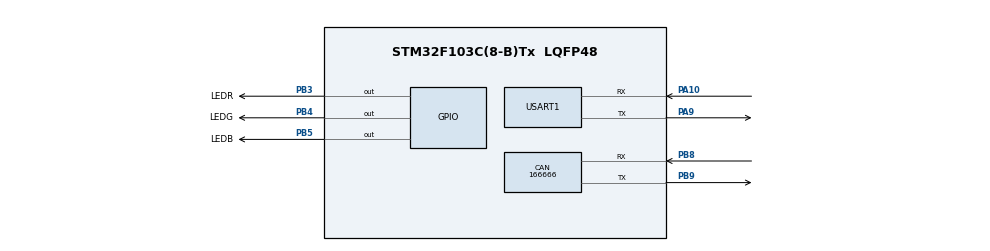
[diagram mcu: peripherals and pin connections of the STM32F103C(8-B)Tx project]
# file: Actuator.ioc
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CAN.CalculateBaudRate=166666
CAN.CalculateTimeBit=6000
CAN.CalculateTimeQuantum=2000.0
Mcu.Family=STM32F1
Mcu.Name=STM32F103C(8-B)Tx
Mcu.Package=LQFP48
NVIC.CAN1_RX1_IRQn=true\:0\:0\:false\:false\:true\:true\:true\:true
NVIC.PriorityGroup=NVIC_PRIORITYGROUP_4
PA10.Mode=Asynchronous
PA10.Signal=USART1_RX
PA9.Mode=Asynchronous
PA9.Signal=USART1_TX
PB3.GPIO_Label=LEDR
PB3.Signal=GPIO_Output
PB4.GPIO_Label=LEDG
PB4.Signal=GPIO_Output
PB5.GPIO_Label=LEDB
PB5.Signal=GPIO_Output
PB8.Mode=CAN_Activate
PB8.Signal=CAN_RX
PB9.Mode=CAN_Activate
PB9.Signal=CAN_TX
PD0-OSC_IN.Mode=HSE-External-Oscillator
PD0-OSC_IN.Signal=RCC_OSC_IN
PD1-OSC_OUT.Mode=HSE-External-Oscillator
PD1-OSC_OUT.Signal=RCC_OSC_OUT
ProjectManager.HeapSize=0x200
ProjectManager.StackSize=0x400
ProjectManager.TargetToolchain=STM32CubeIDE
RCC.APB1Freq_Value=8000000
RCC.APB2Freq_Value=8000000
USART1.VirtualMode=VM_ASYNC
VP_SYS_VS_ND.Mode=No_Debug
board=custom

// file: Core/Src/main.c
/* USER CODE BEGIN Header */
/**
  ******************************************************************************
  * @file           : main.c
  * @brief          : Main program body
  ******************************************************************************
  * @attention
  *
  * Copyright (c) 2024 STMicroelectronics.
  * All rights reserved.
  *
  * This software is licensed under terms that can be found in the LICENSE file
  * in the root directory of this software component.
  * If no LICENSE file comes with this software, it is provided AS-IS.
  *
  ******************************************************************************
  */
/* USER CODE END Header */
#include "main.h"

/* USER CODE BEGIN Includes */
#include "CAN_Diagnostic.h"
/* USER CODE END Includes */

CAN_HandleTypeDef hcan;

UART_HandleTypeDef huart1;

/* USER CODE BEGIN PV */
extern CAN_TxHeaderTypeDef TxMsg;
extern CAN_RxHeaderTypeDef RxMsg;
extern CAN_FilterTypeDef canfilterconfig;

extern CAN_TxHeaderTypeDef TxMsg;
extern CAN_RxHeaderTypeDef RxMsg;
extern CAN_FilterTypeDef canfilterconfig;

extern uint8_t TxData[8];
extern uint8_t RxData[8];
extern uint32_t TxMailbox;
/* USER CODE END PV */

void SystemClock_Config(void);
static void MX_GPIO_Init(void);
static void MX_CAN_Init(void);
static void MX_USART1_UART_Init(void);

/* USER CODE BEGIN 0 */
void HAL_CAN_RxFifo1MsgPendingCallback(CAN_HandleTypeDef *hcan)
{
	HAL_CAN_GetRxMessage(hcan, CAN_RX_FIFO1, &RxMsg, RxData);

	if (RxMsg.StdId == CAN_DIAGNOSTIC_REQUEST_ID)
		{
			if (RxData[1] == READ_DATA_REQUEST_SID)
			{
				CAN_ReadDataRespone(hcan);
			}
			else if (RxData[1] == WRITE_DATA_REQUEST_SID)
			{
				CAN_WriteDataRespone(hcan);
			}
			else if (RxData[1] == CAN_SECURITY_ACCESS_REQUEST_SID)
			{
			    if (RxData[2] == CAN_SECURITY_SEED_LEVEL)
				{
					CAN_SecuritySeedRespone(hcan);
				}
			    else if (RxData[2] == CAN_SECURITY_SEED_LEVEL)
			    {
			    	CAN_SecurityKeyRespone(hcan);
			    }
			}
		}
}

/* USER CODE END 0 */

int main(void)
{

  /* MCU Configuration--------------------------------------------------------*/

  /* Reset of all peripherals, Initializes the Flash interface and the Systick. */
  HAL_Init();

  /* Configure the system clock */
  SystemClock_Config();

  /* Initialize all configured peripherals */
  MX_GPIO_Init();
  MX_CAN_Init();
  MX_USART1_UART_Init();
  /* USER CODE BEGIN 2 */
  HAL_CAN_Start(&hcan);
  HAL_CAN_ActivateNotification(&hcan, CAN_IT_RX_FIFO1_MSG_PENDING);
  CAN_Config(&hcan);
  /* USER CODE END 2 */

  /* Infinite loop */
  while (1)
  {

  }
}

void SystemClock_Config(void)
{
  RCC_OscInitTypeDef RCC_OscInitStruct = {0};
  RCC_ClkInitTypeDef RCC_ClkInitStruct = {0};

  /** Initializes the RCC Oscillators according to the specified parameters
  * in the RCC_OscInitTypeDef structure.
  */
  RCC_OscInitStruct.OscillatorType = RCC_OSCILLATORTYPE_HSI;
  RCC_OscInitStruct.HSIState = RCC_HSI_ON;
  RCC_OscInitStruct.HSICalibrationValue = RCC_HSICALIBRATION_DEFAULT;
  RCC_OscInitStruct.PLL.PLLState = RCC_PLL_NONE;
  if (HAL_RCC_OscConfig(&RCC_OscInitStruct) != HAL_OK)
  {
    Error_Handler();
  }

  /** Initializes the CPU, AHB and APB buses clocks
  */
  RCC_ClkInitStruct.ClockType = RCC_CLOCKTYPE_HCLK|RCC_CLOCKTYPE_SYSCLK
                              |RCC_CLOCKTYPE_PCLK1|RCC_CLOCKTYPE_PCLK2;
  RCC_ClkInitStruct.SYSCLKSource = RCC_SYSCLKSOURCE_HSI;
  RCC_ClkInitStruct.AHBCLKDivider = RCC_SYSCLK_DIV1;
  RCC_ClkInitStruct.APB1CLKDivider = RCC_HCLK_DIV1;
  RCC_ClkInitStruct.APB2CLKDivider = RCC_HCLK_DIV1;

  if (HAL_RCC_ClockConfig(&RCC_ClkInitStruct, FLASH_LATENCY_0) != HAL_OK)
  {
    Error_Handler();
  }
}

static void MX_CAN_Init(void)
{

  hcan.Instance = CAN1;
  hcan.Init.Prescaler = 16;
  hcan.Init.Mode = CAN_MODE_NORMAL;
  hcan.Init.SyncJumpWidth = CAN_SJW_1TQ;
  hcan.Init.TimeSeg1 = CAN_BS1_1TQ;
  hcan.Init.TimeSeg2 = CAN_BS2_1TQ;
  hcan.Init.TimeTriggeredMode = DISABLE;
  hcan.Init.AutoBusOff = DISABLE;
  hcan.Init.AutoWakeUp = DISABLE;
  hcan.Init.AutoRetransmission = DISABLE;
  hcan.Init.ReceiveFifoLocked = DISABLE;
  hcan.Init.TransmitFifoPriority = DISABLE;
  if (HAL_CAN_Init(&hcan) != HAL_OK)
  {
    Error_Handler();
  }

}

static void MX_USART1_UART_Init(void)
{

  huart1.Instance = USART1;
  huart1.Init.BaudRate = 115200;
  huart1.Init.WordLength = UART_WORDLENGTH_8B;
  huart1.Init.StopBits = UART_STOPBITS_1;
  huart1.Init.Parity = UART_PARITY_NONE;
  huart1.Init.Mode = UART_MODE_TX_RX;
  huart1.Init.HwFlowCtl = UART_HWCONTROL_NONE;
  huart1.Init.OverSampling = UART_OVERSAMPLING_16;
  if (HAL_UART_Init(&huart1) != HAL_OK)
  {
    Error_Handler();
  }

}

static void MX_GPIO_Init(void)
{
  GPIO_InitTypeDef GPIO_InitStruct = {0};

  /* GPIO Ports Clock Enable */
  __HAL_RCC_GPIOD_CLK_ENABLE();
  __HAL_RCC_GPIOA_CLK_ENABLE();
  __HAL_RCC_GPIOB_CLK_ENABLE();

  /*Configure GPIO pin Output Level */
  HAL_GPIO_WritePin(GPIOB, LEDR_Pin|LEDG_Pin|LEDB_Pin, GPIO_PIN_RESET);

  /*Configure GPIO pins : LEDR_Pin LEDG_Pin LEDB_Pin */
  GPIO_InitStruct.Pin = LEDR_Pin|LEDG_Pin|LEDB_Pin;
  GPIO_InitStruct.Mode = GPIO_MODE_OUTPUT_PP;
  GPIO_InitStruct.Pull = GPIO_NOPULL;
  GPIO_InitStruct.Speed = GPIO_SPEED_FREQ_LOW;
  HAL_GPIO_Init(GPIOB, &GPIO_InitStruct);

}

void Error_Handler(void)
{
  __disable_irq();
  while (1)
  {
  }
}
